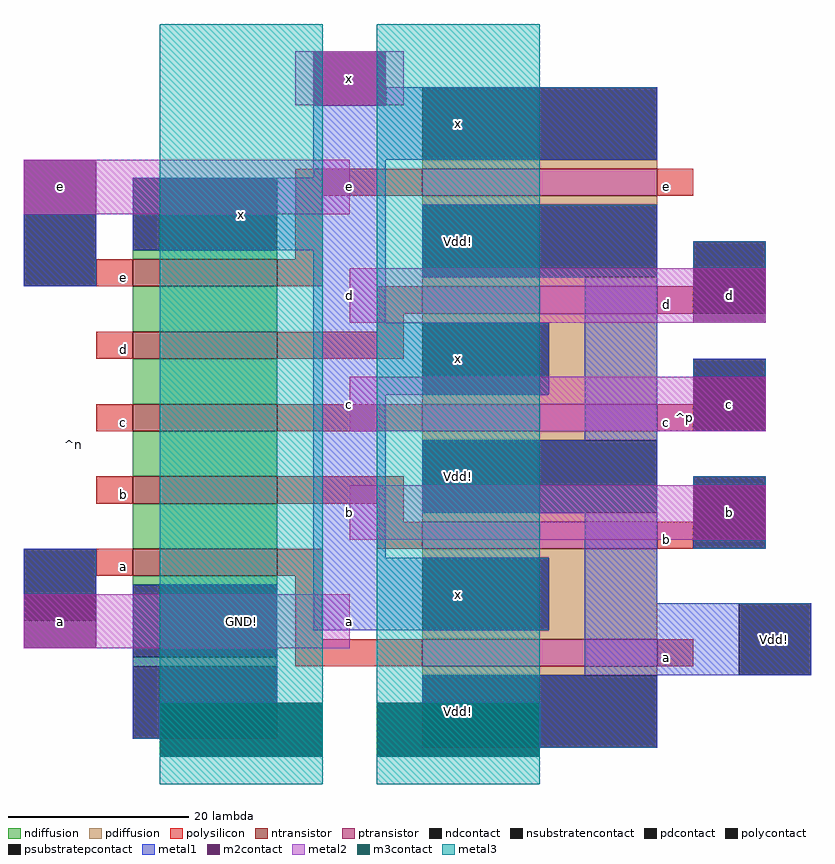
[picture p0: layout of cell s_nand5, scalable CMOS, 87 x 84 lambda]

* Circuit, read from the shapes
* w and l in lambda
.subckt s_nand5 GND! Vdd! a b c d e x
M1 n1 a GND! GND! nfet w=16 l=3
M2 n2 b n1 GND! nfet w=16 l=3
M3 n3 c n2 GND! nfet w=16 l=3
M4 n4 d n3 GND! nfet w=16 l=3
M5 x e n4 GND! nfet w=16 l=3
M6 x a Vdd! Vdd! pfet w=26 l=3
M7 Vdd! b x Vdd! pfet w=26 l=3
M8 x c Vdd! Vdd! pfet w=26 l=3
M9 Vdd! d x Vdd! pfet w=26 l=3
M10 x e Vdd! Vdd! pfet w=26 l=3
.ends

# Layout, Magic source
magic
tech scmos
<< ndiffusion >>
rect -24 74 -8 75
rect -24 66 -8 71
rect -24 58 -8 63
rect -24 50 -8 55
rect -24 42 -8 47
rect -24 38 -8 39
rect -24 29 -8 30
<< pdiffusion >>
rect 8 84 34 85
rect 8 80 34 81
rect 8 71 34 72
rect 8 67 34 68
rect 22 59 34 67
rect 8 58 34 59
rect 8 54 34 55
rect 8 45 34 46
rect 8 41 34 42
rect 22 33 34 41
rect 8 32 34 33
rect 8 28 34 29
<< ntransistor >>
rect -24 71 -8 74
rect -24 63 -8 66
rect -24 55 -8 58
rect -24 47 -8 50
rect -24 39 -8 42
<< ptransistor >>
rect 8 81 34 84
rect 8 68 34 71
rect 8 55 34 58
rect 8 42 34 45
rect 8 29 34 32
<< polysilicon >>
rect -6 81 8 84
rect 34 81 38 84
rect -6 74 -3 81
rect -28 71 -24 74
rect -8 71 -3 74
rect 3 68 8 71
rect 34 68 38 71
rect 3 66 6 68
rect -28 63 -24 66
rect -8 63 6 66
rect -28 55 -24 58
rect -8 55 8 58
rect 34 55 38 58
rect -28 47 -24 50
rect -8 47 6 50
rect 3 45 6 47
rect 3 42 8 45
rect 34 42 38 45
rect -28 39 -24 42
rect -8 39 -3 42
rect -6 32 -3 39
rect -6 29 8 32
rect 34 29 38 32
<< ndcontact >>
rect -24 75 -8 83
rect -24 30 -8 38
<< pdcontact >>
rect 8 85 34 93
rect 8 72 34 80
rect 8 59 22 67
rect 8 46 34 54
rect 8 33 22 41
rect 8 20 34 28
<< psubstratepcontact >>
rect -24 21 -8 29
<< nsubstratencontact >>
rect 43 28 51 36
<< polycontact >>
rect -36 71 -28 79
rect 38 68 46 76
rect 38 55 46 63
rect 38 42 46 50
rect -36 34 -28 42
<< metal1 >>
rect 4 91 34 93
rect -4 85 34 91
rect -4 83 4 85
rect -36 71 -28 79
rect -24 75 4 83
rect -4 67 4 75
rect 8 72 34 80
rect -4 59 22 67
rect -36 37 -28 42
rect -4 41 4 59
rect 26 54 34 72
rect 38 73 46 76
rect 38 61 46 63
rect 8 46 34 54
rect -24 25 -8 38
rect -4 33 22 41
rect 26 36 34 46
rect 38 49 46 50
rect 38 42 46 43
rect 26 28 51 36
rect 8 25 34 28
rect -24 21 -21 25
rect 21 20 34 25
<< m2contact >>
rect -4 91 4 97
rect -36 79 -28 85
rect 38 67 46 73
rect 38 55 46 61
rect -36 31 -28 37
rect 38 43 46 49
rect -21 19 -3 25
rect 3 19 21 25
<< metal2 >>
rect -6 91 6 97
rect -36 79 0 85
rect 0 67 46 73
rect 0 55 46 61
rect 0 43 46 49
rect -36 31 0 37
<< m3contact >>
rect -21 19 -3 25
rect 3 19 21 25
<< metal3 >>
rect -21 16 -3 100
rect 3 16 21 100
<< labels >>
rlabel metal2 0 31 0 37 7 a
rlabel metal2 0 43 0 49 3 b
rlabel metal2 0 55 0 61 3 c
rlabel metal2 0 67 0 73 3 d
rlabel metal1 12 37 12 37 1 x
rlabel metal1 12 50 12 50 5 Vdd!
rlabel m2contact 12 24 12 24 1 Vdd!
rlabel metal1 12 63 12 63 5 x
rlabel metal1 12 76 12 76 1 Vdd!
rlabel metal1 12 89 12 89 1 x
rlabel metal1 -12 34 -12 34 1 GND!
rlabel metal1 -12 79 -12 79 1 x
rlabel polysilicon -25 40 -25 40 3 a
rlabel polysilicon -25 48 -25 48 3 b
rlabel polysilicon -25 56 -25 56 3 c
rlabel polysilicon -25 64 -25 64 3 d
rlabel polysilicon -25 72 -25 72 3 e
rlabel polysilicon 35 43 35 43 1 b
rlabel polysilicon 35 30 35 30 1 a
rlabel polysilicon 35 56 35 56 1 c
rlabel polysilicon 35 69 35 69 1 d
rlabel polysilicon 35 82 35 82 1 e
rlabel metal2 0 91 0 97 1 x
rlabel metal1 47 32 47 32 7 Vdd!
rlabel space 22 19 52 94 3 ^p
rlabel metal2 -32 34 -32 34 3 a
rlabel metal2 42 46 42 46 1 b
rlabel metal2 42 58 42 58 1 c
rlabel metal2 42 70 42 70 1 d
rlabel metal2 -32 82 -32 82 3 e
rlabel metal2 0 79 0 85 7 e
rlabel space -37 21 -24 86 7 ^n
<< end >>
